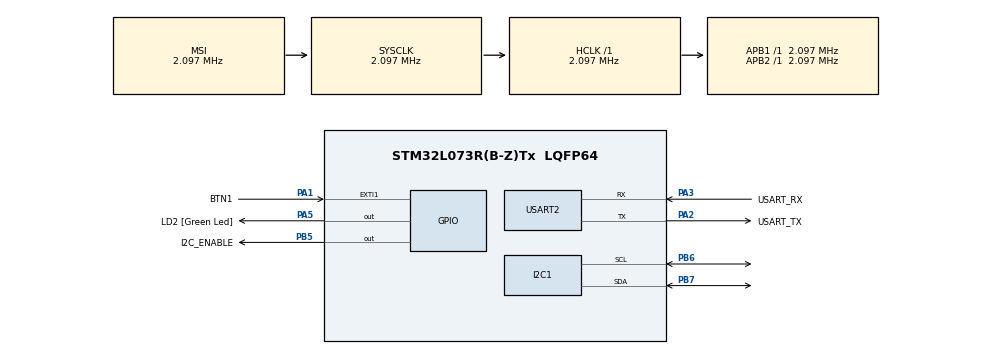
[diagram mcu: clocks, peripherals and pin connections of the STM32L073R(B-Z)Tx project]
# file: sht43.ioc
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I2C1.Timing=0x00000608
Mcu.Family=STM32L0
Mcu.Name=STM32L073R(B-Z)Tx
Mcu.Package=LQFP64
NVIC.EXTI0_1_IRQn=true\:0\:0\:false\:false\:true\:true\:true\:true
NVIC.PVD_IRQn=true\:0\:0\:false\:false\:true\:true\:true\:true
PA1.GPIO_Label=BTN1
PA1.Signal=GPXTI1
PA13.GPIO_Label=TMS
PA13.Mode=Serial_Wire
PA13.Signal=SYS_SWDIO
PA14.GPIO_Label=TCK
PA14.Mode=Serial_Wire
PA14.Signal=SYS_SWCLK
PA2.GPIO_Label=USART_TX
PA2.Mode=Asynchronous
PA2.Signal=USART2_TX
PA3.GPIO_Label=USART_RX
PA3.Mode=Asynchronous
PA3.Signal=USART2_RX
PA5.GPIO_Label=LD2 [Green Led]
PA5.GPIO_PuPd=GPIO_NOPULL
PA5.Signal=GPIO_Output
PB5.GPIO_Label=I2C_ENABLE
PB5.PinState=GPIO_PIN_SET
PB5.Signal=GPIO_Output
PB6.GPIO_Pu=GPIO_PULLUP
PB6.Mode=I2C
PB6.Signal=I2C1_SCL
PB7.GPIO_Pu=GPIO_PULLUP
PB7.Mode=I2C
PB7.Signal=I2C1_SDA
PC14-OSC32_IN.Mode=LSE-External-Oscillator
PC14-OSC32_IN.Signal=RCC_OSC32_IN
PC15-OSC32_OUT.Mode=LSE-External-Oscillator
PC15-OSC32_OUT.Signal=RCC_OSC32_OUT
PH0-OSC_IN.GPIO_Label=MCO
PH0-OSC_IN.Mode=HSE-External-Clock-Source
PH0-OSC_IN.Signal=RCC_OSC_IN
ProjectManager.HeapSize=0x200
ProjectManager.StackSize=0x400
ProjectManager.TargetToolchain=STM32CubeIDE
RCC.AHBFreq_Value=2097000
RCC.APB1Freq_Value=2097000
RCC.APB1TimFreq_Value=2097000
RCC.APB2Freq_Value=2097000
RCC.APB2TimFreq_Value=2097000
RCC.HSE_VALUE=8000000
RCC.HSI16_VALUE=16000000
RCC.HSI48_VALUE=48000000
RCC.HSI_VALUE=16000000
RCC.MSI_VALUE=2097000
RCC.SYSCLKFreq_VALUE=2097000
RCC.VCOOutputFreq_Value=48000000
USART2.VirtualMode-Asynchronous=VM_ASYNC
board=NUCLEO-L073RZ

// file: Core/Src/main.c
/* USER CODE BEGIN Header */
/**
  ******************************************************************************
  * @file           : main.c
  * @brief          : Main program body
  ******************************************************************************
  * @attention
  *
  * Copyright (c) 2025 STMicroelectronics.
  * All rights reserved.
  *
  * This software is licensed under terms that can be found in the LICENSE file
  * in the root directory of this software component.
  * If no LICENSE file comes with this software, it is provided AS-IS.
  *
  ******************************************************************************
  */
/* USER CODE END Header */
#include "main.h"

/* USER CODE BEGIN Includes */
#include <stdbool.h>
#include <stdio.h>
#include <string.h>
#include "sensirion/sensirion.h"
#include "sensirion/sht4x_i2c.h"
#include "sensirion/sensirion_common.h"
#include "ssd1306.h"
#include "cropwatch_logo.h"
#include "thermometer_icon.h"
/* USER CODE END Includes */

I2C_HandleTypeDef hi2c1;

UART_HandleTypeDef huart2;

/* USER CODE BEGIN PV */
static volatile bool heater_trigger_requested = false;
static volatile bool heater_active = false;
static uint32_t heater_active_until_ms = 0;
static volatile uint32_t heater_next_allowed_ms = 0;
/* USER CODE END PV */

void SystemClock_Config(void);
static void MX_GPIO_Init(void);
static void MX_USART2_UART_Init(void);
static void MX_I2C1_Init(void);
/* USER CODE BEGIN PFP */
static int run_heater_cycle(void);
static bool tick_elapsed(uint32_t now, uint32_t target);
/* USER CODE END PFP */

int main(void)
{

  /* MCU Configuration--------------------------------------------------------*/

  /* Reset of all peripherals, Initializes the Flash interface and the Systick. */
  HAL_Init();

  /* Configure the system clock */
  SystemClock_Config();

  /* Initialize all configured peripherals */
  MX_GPIO_Init();
  MX_USART2_UART_Init();
  MX_I2C1_Init();
  /* USER CODE BEGIN 2 */
  char sensor_serial_1[11] = {0};
  char sensor_serial_2[11] = {0};

  scan_i2c_bus();

  if (has_sensor_1) {
    sensirion_get_serial_string(SHT43_I2C_ADDR_44,
                                sensor_serial_1,
                                sizeof(sensor_serial_1));
  }

  if (has_sensor_2) {
    sensirion_get_serial_string(SHT40_I2C_ADDR_46,
                                sensor_serial_2,
                                sizeof(sensor_serial_2));
  }

  int i2c_success = sensor_init_and_read();
  (void)i2c_success;
  (void)sensor_serial_1;
  (void)sensor_serial_2;

  ssd1306_init(&hi2c1);
  if (ssd1306_is_initialized()) {
    ssd1306_clear();
    uint8_t logo_x = (CROPWATCH_LOGO_WIDTH < SSD1306_WIDTH)
                       ? (uint8_t)((SSD1306_WIDTH - CROPWATCH_LOGO_WIDTH) / 2U)
                       : 0U;
    ssd1306_draw_bitmap(logo_x, 0U, CROPWATCH_LOGO_WIDTH, CROPWATCH_LOGO_HEIGHT, cropwatch_logo_bitmap);

    const char* startup_text = "CROPWATCH";
    uint8_t text_scale = 2U;
    uint8_t text_width = ssd1306_measure_text_width(startup_text, text_scale);
    uint8_t text_x = (text_width < SSD1306_WIDTH)
                       ? (uint8_t)((SSD1306_WIDTH - text_width) / 2U)
                       : 0U;
    uint8_t text_height = (uint8_t)(SSD1306_FONT_HEIGHT * text_scale);
    uint8_t text_y = (text_height < SSD1306_HEIGHT)
                       ? (uint8_t)(SSD1306_HEIGHT - text_height)
                       : 0U;
    ssd1306_draw_string_scaled(text_x, text_y, startup_text, text_scale);
    ssd1306_update();
    HAL_Delay(5000);
    ssd1306_clear();

    char serial_display[32] = {0};
    if (has_sensor_1) {
      snprintf(serial_display, sizeof(serial_display), "S1 %s", sensor_serial_1);
      uint8_t line_width = ssd1306_measure_text_width(serial_display, 1U);
      uint8_t line_x = (line_width < SSD1306_WIDTH) ? (uint8_t)((SSD1306_WIDTH - line_width) / 2U) : 0U;
      ssd1306_draw_string_scaled(line_x, 16, serial_display, 1U);
    } else {
      ssd1306_draw_string_scaled(12, 16, "S1 MISSING", 1U);
    }

    if (has_sensor_2) {
      snprintf(serial_display, sizeof(serial_display), "S2 %s", sensor_serial_2);
      uint8_t line_width = ssd1306_measure_text_width(serial_display, 1U);
      uint8_t line_x = (line_width < SSD1306_WIDTH) ? (uint8_t)((SSD1306_WIDTH - line_width) / 2U) : 0U;
      ssd1306_draw_string_scaled(line_x, 32, serial_display, 1U);
    } else {
      ssd1306_draw_string_scaled(12, 32, "S2 MISSING", 1U);
    }

    ssd1306_update();
    HAL_Delay(10000);
  }

  /* USER CODE END 2 */

  /* Infinite loop */
  while (1)
  {

    /* USER CODE BEGIN 3 */
    scan_i2c_bus();
    uint32_t now = HAL_GetTick();

    if (heater_trigger_requested) {
      heater_trigger_requested = false;
      heater_next_allowed_ms = now + 60000U;
      if (has_sensor_1 || has_sensor_2) {
        heater_active = true;
        heater_active_until_ms = now + 20000U;
      }
    }

    if (heater_active && tick_elapsed(now, heater_active_until_ms)) {
      heater_active = false;
    }

    int read_status = 0;
    if (heater_active) {
      read_status = run_heater_cycle();
      if (read_status != 0) {
        heater_active = false;
      }
    } else {
      read_status = sensor_init_and_read();
    }

    char temp_line[20] = {0};
    char hum_line[20] = {0};
    bool show_humidity = false;

    if (!has_sensor_1) {
      snprintf(temp_line, sizeof(temp_line), "NO SENSOR");
    } else if (!heater_active && read_status == 4) {
      snprintf(temp_line, sizeof(temp_line), "TEMP DIFF");
    } else if (read_status != 0) {
      snprintf(temp_line, sizeof(temp_line), "I2C ERR %d", (int)i2c_error_code);
    } else {
      int16_t temp_centi = sht4x_temp_centi_from_ticks(temp_ticks_1);
      int32_t abs_centi = (temp_centi < 0) ? -(int32_t)temp_centi : (int32_t)temp_centi;
      int32_t whole = abs_centi / 100;
      int32_t frac = abs_centi % 100;

      const char* sign = (temp_centi < 0) ? "-" : "";
      snprintf(temp_line, sizeof(temp_line), "TEMP %s%ld.%02ldC", sign, (long)whole, (long)frac);

      uint16_t hum_centi = calculated_hum_1;
      uint32_t hum_whole = hum_centi / 100U;
      uint32_t hum_frac = hum_centi % 100U;
      snprintf(hum_line, sizeof(hum_line), "HUM %lu.%02lu%%RH", (unsigned long)hum_whole, (unsigned long)hum_frac);
      show_humidity = true;
    }

    if (ssd1306_is_initialized()) {
      ssd1306_clear();

      if (temp_line[0] != '\0') {
        const uint8_t temp_scale = 2U;
        if (heater_active && strncmp(temp_line, "TEMP ", 5) == 0) {
          const char* value_text = &temp_line[5];
          while (*value_text == ' ') {
            value_text++;
          }

          if (*value_text != '\0') {
            uint8_t value_width = ssd1306_measure_text_width(value_text, temp_scale);
            const uint8_t icon_spacing = 6U;
            uint16_t total_width = (uint16_t)THERMOMETER_ICON_WIDTH + icon_spacing + value_width;
            uint8_t start_x = (total_width < SSD1306_WIDTH) ? (uint8_t)((SSD1306_WIDTH - total_width) / 2U) : 0U;
            uint8_t icon_y = 6U;
            uint8_t text_x = (uint8_t)(start_x + THERMOMETER_ICON_WIDTH + icon_spacing);
            ssd1306_draw_bitmap(start_x, icon_y, THERMOMETER_ICON_WIDTH, THERMOMETER_ICON_HEIGHT, thermometer_icon_bitmap);
            ssd1306_draw_string_scaled(text_x, 6U, value_text, temp_scale);
          } else {
            uint8_t temp_width = ssd1306_measure_text_width(temp_line, temp_scale);
            uint8_t temp_x = (temp_width < SSD1306_WIDTH) ? (uint8_t)((SSD1306_WIDTH - temp_width) / 2U) : 0U;
            ssd1306_draw_string_scaled(temp_x, 6U, temp_line, temp_scale);
          }
        } else {
          uint8_t temp_width = ssd1306_measure_text_width(temp_line, temp_scale);
          uint8_t temp_x = (temp_width < SSD1306_WIDTH) ? (uint8_t)((SSD1306_WIDTH - temp_width) / 2U) : 0U;
          ssd1306_draw_string_scaled(temp_x, 6U, temp_line, temp_scale);
        }
      }

      if (show_humidity && hum_line[0] != '\0') {
        uint8_t hum_width = ssd1306_measure_text_width(hum_line, 2U);
        uint8_t hum_x = (hum_width < SSD1306_WIDTH) ? (uint8_t)((SSD1306_WIDTH - hum_width) / 2U) : 0U;
        ssd1306_draw_string_scaled(hum_x, 38, hum_line, 2U);
      }

      ssd1306_update();
    }

    HAL_Delay(1000);
  }
  /* USER CODE END 3 */
}

void SystemClock_Config(void)
{
  RCC_OscInitTypeDef RCC_OscInitStruct = {0};
  RCC_ClkInitTypeDef RCC_ClkInitStruct = {0};
  RCC_PeriphCLKInitTypeDef PeriphClkInit = {0};

  /** Configure the main internal regulator output voltage
  */
  __HAL_PWR_VOLTAGESCALING_CONFIG(PWR_REGULATOR_VOLTAGE_SCALE1);

  /** Initializes the RCC Oscillators according to the specified parameters
  * in the RCC_OscInitTypeDef structure.
  */
  RCC_OscInitStruct.OscillatorType = RCC_OSCILLATORTYPE_MSI;
  RCC_OscInitStruct.MSIState = RCC_MSI_ON;
  RCC_OscInitStruct.MSICalibrationValue = 0;
  RCC_OscInitStruct.MSIClockRange = RCC_MSIRANGE_5;
  RCC_OscInitStruct.PLL.PLLState = RCC_PLL_NONE;
  if (HAL_RCC_OscConfig(&RCC_OscInitStruct) != HAL_OK)
  {
    Error_Handler();
  }

  /** Initializes the CPU, AHB and APB buses clocks
  */
  RCC_ClkInitStruct.ClockType = RCC_CLOCKTYPE_HCLK|RCC_CLOCKTYPE_SYSCLK
                              |RCC_CLOCKTYPE_PCLK1|RCC_CLOCKTYPE_PCLK2;
  RCC_ClkInitStruct.SYSCLKSource = RCC_SYSCLKSOURCE_MSI;
  RCC_ClkInitStruct.AHBCLKDivider = RCC_SYSCLK_DIV1;
  RCC_ClkInitStruct.APB1CLKDivider = RCC_HCLK_DIV1;
  RCC_ClkInitStruct.APB2CLKDivider = RCC_HCLK_DIV1;

  if (HAL_RCC_ClockConfig(&RCC_ClkInitStruct, FLASH_LATENCY_0) != HAL_OK)
  {
    Error_Handler();
  }
  PeriphClkInit.PeriphClockSelection = RCC_PERIPHCLK_USART2|RCC_PERIPHCLK_I2C1;
  PeriphClkInit.Usart2ClockSelection = RCC_USART2CLKSOURCE_PCLK1;
  PeriphClkInit.I2c1ClockSelection = RCC_I2C1CLKSOURCE_PCLK1;
  if (HAL_RCCEx_PeriphCLKConfig(&PeriphClkInit) != HAL_OK)
  {
    Error_Handler();
  }
}

static void MX_I2C1_Init(void)
{

  hi2c1.Instance = I2C1;
  hi2c1.Init.Timing = 0x00000608;
  hi2c1.Init.OwnAddress1 = 0;
  hi2c1.Init.AddressingMode = I2C_ADDRESSINGMODE_7BIT;
  hi2c1.Init.DualAddressMode = I2C_DUALADDRESS_DISABLE;
  hi2c1.Init.OwnAddress2 = 0;
  hi2c1.Init.OwnAddress2Masks = I2C_OA2_NOMASK;
  hi2c1.Init.GeneralCallMode = I2C_GENERALCALL_DISABLE;
  hi2c1.Init.NoStretchMode = I2C_NOSTRETCH_DISABLE;
  if (HAL_I2C_Init(&hi2c1) != HAL_OK)
  {
    Error_Handler();
  }

  /** Configure Analogue filter
  */
  if (HAL_I2CEx_ConfigAnalogFilter(&hi2c1, I2C_ANALOGFILTER_ENABLE) != HAL_OK)
  {
    Error_Handler();
  }

  /** Configure Digital filter
  */
  if (HAL_I2CEx_ConfigDigitalFilter(&hi2c1, 0) != HAL_OK)
  {
    Error_Handler();
  }

}

static void MX_USART2_UART_Init(void)
{

  huart2.Instance = USART2;
  huart2.Init.BaudRate = 115200;
  huart2.Init.WordLength = UART_WORDLENGTH_8B;
  huart2.Init.StopBits = UART_STOPBITS_1;
  huart2.Init.Parity = UART_PARITY_NONE;
  huart2.Init.Mode = UART_MODE_TX_RX;
  huart2.Init.HwFlowCtl = UART_HWCONTROL_NONE;
  huart2.Init.OverSampling = UART_OVERSAMPLING_16;
  huart2.Init.OneBitSampling = UART_ONE_BIT_SAMPLE_DISABLE;
  huart2.AdvancedInit.AdvFeatureInit = UART_ADVFEATURE_NO_INIT;
  if (HAL_UART_Init(&huart2) != HAL_OK)
  {
    Error_Handler();
  }

}

static void MX_GPIO_Init(void)
{
  GPIO_InitTypeDef GPIO_InitStruct = {0};

  /* GPIO Ports Clock Enable */
  __HAL_RCC_GPIOC_CLK_ENABLE();
  __HAL_RCC_GPIOH_CLK_ENABLE();
  __HAL_RCC_GPIOA_CLK_ENABLE();
  __HAL_RCC_GPIOB_CLK_ENABLE();

  /*Configure GPIO pin Output Level */
  HAL_GPIO_WritePin(LD2_GPIO_Port, LD2_Pin, GPIO_PIN_RESET);

  /*Configure GPIO pin Output Level */
  HAL_GPIO_WritePin(I2C_ENABLE_GPIO_Port, I2C_ENABLE_Pin, GPIO_PIN_SET);

  /*Configure GPIO pin : BTN1_Pin */
  GPIO_InitStruct.Pin = BTN1_Pin;
  GPIO_InitStruct.Mode = GPIO_MODE_IT_RISING;
  GPIO_InitStruct.Pull = GPIO_NOPULL;
  HAL_GPIO_Init(BTN1_GPIO_Port, &GPIO_InitStruct);

  /*Configure GPIO pin : LD2_Pin */
  GPIO_InitStruct.Pin = LD2_Pin;
  GPIO_InitStruct.Mode = GPIO_MODE_OUTPUT_PP;
  GPIO_InitStruct.Pull = GPIO_NOPULL;
  GPIO_InitStruct.Speed = GPIO_SPEED_FREQ_LOW;
  HAL_GPIO_Init(LD2_GPIO_Port, &GPIO_InitStruct);

  /*Configure GPIO pin : I2C_ENABLE_Pin */
  GPIO_InitStruct.Pin = I2C_ENABLE_Pin;
  GPIO_InitStruct.Mode = GPIO_MODE_OUTPUT_PP;
  GPIO_InitStruct.Pull = GPIO_NOPULL;
  GPIO_InitStruct.Speed = GPIO_SPEED_FREQ_LOW;
  HAL_GPIO_Init(I2C_ENABLE_GPIO_Port, &GPIO_InitStruct);

  /* EXTI interrupt init*/
  HAL_NVIC_SetPriority(EXTI0_1_IRQn, 0, 0);
  HAL_NVIC_EnableIRQ(EXTI0_1_IRQn);

  /* USER CODE BEGIN MX_GPIO_Init_2 */
  HAL_NVIC_SetPriority(EXTI4_15_IRQn, 2, 0);
  HAL_NVIC_EnableIRQ(EXTI4_15_IRQn);
  /* USER CODE END MX_GPIO_Init_2 */
}

/* USER CODE BEGIN 4 */
static bool tick_elapsed(uint32_t now, uint32_t target)
{
  return ((int32_t)(now - target) >= 0);
}

void HAL_GPIO_EXTI_Callback(uint16_t GPIO_Pin)
{
  if (GPIO_Pin == BTN1_Pin) {
    uint32_t now = HAL_GetTick();
    if (!heater_active && !heater_trigger_requested && tick_elapsed(now, heater_next_allowed_ms)) {
      heater_trigger_requested = true;
    }
  }
}

static int run_heater_cycle(void)
{
  int status = 0;
  int16_t command_result = NO_ERROR;
  bool any_sensor = false;

  if (has_sensor_1) {
    any_sensor = true;
    sht4x_init(SHT43_I2C_ADDR_44);
    command_result = sht4x_activate_highest_heater_power_long_ticks(&temp_ticks_1, &hum_ticks_1);
    if (command_result != NO_ERROR) {
      status = command_result;
      i2c_error_code = command_result;
    } else {
      calculated_temp_1 = sht4x_temp_centi_from_ticks(temp_ticks_1) + 5500;
      calculated_hum_1 = sht4x_rh_centi_from_ticks(hum_ticks_1);
    }
  }

  if (has_sensor_2) {
    any_sensor = true;
    sht4x_init(SHT40_I2C_ADDR_46);
    command_result = sht4x_activate_highest_heater_power_long_ticks(&temp_ticks_2, &hum_ticks_2);
    if (command_result != NO_ERROR) {
      if (status == 0) {
        status = command_result;
        i2c_error_code = command_result;
      }
    } else {
      calculated_temp_2 = sht4x_temp_centi_from_ticks(temp_ticks_2) + 5500;
      calculated_hum_2 = sht4x_rh_centi_from_ticks(hum_ticks_2);
    }
  }

  if (!any_sensor) {
    status = NO_SENSORS_FOUND;
    i2c_error_code = NO_SENSORS_FOUND;
  } else if (status == 0) {
    i2c_error_code = NO_ERROR;
  }

  return status;
}

/* USER CODE END 4 */

void Error_Handler(void)
{
  __disable_irq();
  while (1)
  {
  }
}
